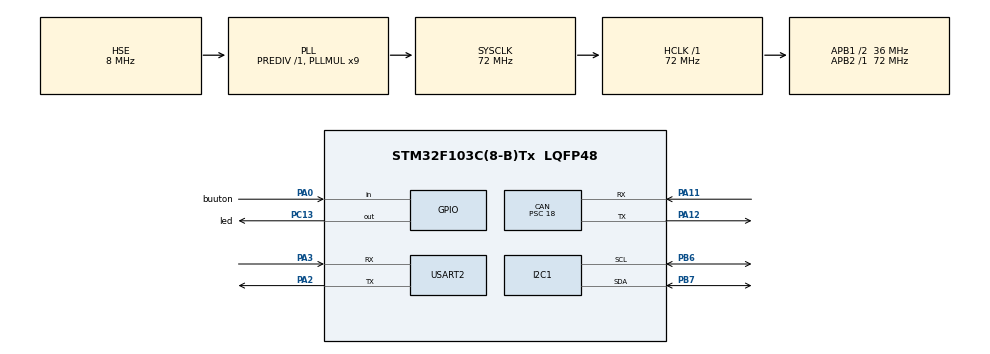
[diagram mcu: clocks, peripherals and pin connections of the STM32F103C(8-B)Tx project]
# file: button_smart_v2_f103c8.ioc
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CAN.BS2=CAN_BS2_2TQ
CAN.CalculateBaudRate=500000
CAN.CalculateTimeBit=2000
CAN.CalculateTimeQuantum=500.0
CAN.Prescaler=18
Mcu.Family=STM32F1
Mcu.Name=STM32F103C(8-B)Tx
Mcu.Package=LQFP48
NVIC.PriorityGroup=NVIC_PRIORITYGROUP_4
NVIC.TIM4_IRQn=true\:0\:0\:false\:false\:true\:true\:true\:true
NVIC.USB_HP_CAN1_TX_IRQn=true\:0\:0\:false\:false\:true\:true\:true\:true
NVIC.USB_LP_CAN1_RX0_IRQn=true\:0\:0\:false\:false\:true\:true\:true\:true
PA0-WKUP.GPIO_Label=buuton
PA0-WKUP.GPIO_PuPd=GPIO_PULLUP
PA0-WKUP.Signal=GPIO_Input
PA11.Mode=CAN_Activate
PA11.Signal=CAN_RX
PA12.Mode=CAN_Activate
PA12.Signal=CAN_TX
PA13.Mode=Serial_Wire
PA13.Signal=SYS_JTMS-SWDIO
PA14.Mode=Serial_Wire
PA14.Signal=SYS_JTCK-SWCLK
PA2.Mode=Asynchronous
PA2.Signal=USART2_TX
PA3.Mode=Asynchronous
PA3.Signal=USART2_RX
PB6.Mode=I2C
PB6.Signal=I2C1_SCL
PB7.Mode=I2C
PB7.Signal=I2C1_SDA
PC13-TAMPER-RTC.GPIO_Label=led
PC13-TAMPER-RTC.Signal=GPIO_Output
PC14-OSC32_IN.Mode=LSE-External-Oscillator
PC14-OSC32_IN.Signal=RCC_OSC32_IN
PC15-OSC32_OUT.Mode=LSE-External-Oscillator
PC15-OSC32_OUT.Signal=RCC_OSC32_OUT
PD0-OSC_IN.Mode=HSE-External-Oscillator
PD0-OSC_IN.Signal=RCC_OSC_IN
PD1-OSC_OUT.Mode=HSE-External-Oscillator
PD1-OSC_OUT.Signal=RCC_OSC_OUT
ProjectManager.HeapSize=0x200
ProjectManager.StackSize=0x400
ProjectManager.TargetToolchain=STM32CubeIDE
RCC.AHBFreq_Value=72000000
RCC.APB1CLKDivider=RCC_HCLK_DIV2
RCC.APB1Freq_Value=36000000
RCC.APB1TimFreq_Value=72000000
RCC.APB2Freq_Value=72000000
RCC.APB2TimFreq_Value=72000000
RCC.HCLKFreq_Value=72000000
RCC.PLLMUL=RCC_PLL_MUL9
RCC.PLLSourceVirtual=RCC_PLLSOURCE_HSE
RCC.SYSCLKFreq_VALUE=72000000
RCC.SYSCLKSource=RCC_SYSCLKSOURCE_PLLCLK
RCC.USBFreq_Value=72000000
TIM4.Prescaler=71
USART2.VirtualMode=VM_ASYNC
VP_TIM4_VS_ClockSourceITR.Mode=TriggerSource_ITR0
board=custom

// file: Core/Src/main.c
/* USER CODE BEGIN Header */
/**
  ******************************************************************************
  * @file           : main.c
  * @brief          : Main program body
  ******************************************************************************
  * @attention
  *
  * Copyright (c) 2024 STMicroelectronics.
  * All rights reserved.
  *
  * This software is licensed under terms that can be found in the LICENSE file
  * in the root directory of this software component.
  * If no LICENSE file comes with this software, it is provided AS-IS.
  *
  ******************************************************************************
  */
/* USER CODE END Header */
#include "main.h"

/* USER CODE BEGIN PD */
#define DEBOUNCE_DELAY 50000
/* USER CODE END PD */

CAN_HandleTypeDef hcan;

I2C_HandleTypeDef hi2c1;

TIM_HandleTypeDef htim4;

UART_HandleTypeDef huart2;

void SystemClock_Config(void);
static void MX_GPIO_Init(void);
static void MX_USART2_UART_Init(void);
static void MX_TIM4_Init(void);
static void MX_CAN_Init(void);
static void MX_I2C1_Init(void);

int main(void)
{

  /* MCU Configuration--------------------------------------------------------*/

  /* Reset of all peripherals, Initializes the Flash interface and the Systick. */
  HAL_Init();

  /* Configure the system clock */
  SystemClock_Config();

  /* Initialize all configured peripherals */
  MX_GPIO_Init();
  MX_USART2_UART_Init();
  MX_TIM4_Init();
  MX_CAN_Init();
  MX_I2C1_Init();
  /* USER CODE BEGIN 2 */
  HAL_TIM_Base_Start(&htim4);  // Запускаем таймер
  uint32_t lastDebounceTime = 0;
  uint8_t buttonState = GPIO_PIN_RESET;
  uint8_t lastButtonState = GPIO_PIN_RESET;
  uint8_t ledState = GPIO_PIN_RESET;
  HAL_GPIO_WritePin(led_GPIO_Port, led_Pin, ledState);  // Начальное состояние светодиода
  /* USER CODE END 2 */

  /* Infinite loop */
  while (1)
  {

    /* USER CODE BEGIN 3 */
    uint8_t reading = HAL_GPIO_ReadPin(buuton_GPIO_Port, buuton_Pin);

    uint32_t currentTime = __HAL_TIM_GET_COUNTER(&htim4);

    if (reading != lastButtonState) {
      lastDebounceTime = currentTime;
    }

    if ((currentTime - lastDebounceTime) >= DEBOUNCE_DELAY) {
      if (reading != buttonState) {
        buttonState = reading;

        if (buttonState == GPIO_PIN_RESET) {  // Проверяем на RESET, так как кнопка подтянута к VCC
          ledState = !ledState;
          HAL_GPIO_WritePin(led_GPIO_Port, led_Pin, ledState);
        }
      }
    }

    lastButtonState = reading;

    // Сброс счетчика таймера при переполнении
    if (currentTime < lastDebounceTime) {
      lastDebounceTime = 0;
    }
  }
  /* USER CODE END 3 */
}

void SystemClock_Config(void)
{
  RCC_OscInitTypeDef RCC_OscInitStruct = {0};
  RCC_ClkInitTypeDef RCC_ClkInitStruct = {0};

  /** Initializes the RCC Oscillators according to the specified parameters
  * in the RCC_OscInitTypeDef structure.
  */
  RCC_OscInitStruct.OscillatorType = RCC_OSCILLATORTYPE_HSE;
  RCC_OscInitStruct.HSEState = RCC_HSE_ON;
  RCC_OscInitStruct.HSEPredivValue = RCC_HSE_PREDIV_DIV1;
  RCC_OscInitStruct.HSIState = RCC_HSI_ON;
  RCC_OscInitStruct.PLL.PLLState = RCC_PLL_ON;
  RCC_OscInitStruct.PLL.PLLSource = RCC_PLLSOURCE_HSE;
  RCC_OscInitStruct.PLL.PLLMUL = RCC_PLL_MUL9;
  if (HAL_RCC_OscConfig(&RCC_OscInitStruct) != HAL_OK)
  {
    Error_Handler();
  }

  /** Initializes the CPU, AHB and APB buses clocks
  */
  RCC_ClkInitStruct.ClockType = RCC_CLOCKTYPE_HCLK|RCC_CLOCKTYPE_SYSCLK
                              |RCC_CLOCKTYPE_PCLK1|RCC_CLOCKTYPE_PCLK2;
  RCC_ClkInitStruct.SYSCLKSource = RCC_SYSCLKSOURCE_PLLCLK;
  RCC_ClkInitStruct.AHBCLKDivider = RCC_SYSCLK_DIV1;
  RCC_ClkInitStruct.APB1CLKDivider = RCC_HCLK_DIV2;
  RCC_ClkInitStruct.APB2CLKDivider = RCC_HCLK_DIV1;

  if (HAL_RCC_ClockConfig(&RCC_ClkInitStruct, FLASH_LATENCY_2) != HAL_OK)
  {
    Error_Handler();
  }
}

static void MX_CAN_Init(void)
{

  hcan.Instance = CAN1;
  hcan.Init.Prescaler = 18;
  hcan.Init.Mode = CAN_MODE_NORMAL;
  hcan.Init.SyncJumpWidth = CAN_SJW_1TQ;
  hcan.Init.TimeSeg1 = CAN_BS1_1TQ;
  hcan.Init.TimeSeg2 = CAN_BS2_2TQ;
  hcan.Init.TimeTriggeredMode = DISABLE;
  hcan.Init.AutoBusOff = DISABLE;
  hcan.Init.AutoWakeUp = DISABLE;
  hcan.Init.AutoRetransmission = DISABLE;
  hcan.Init.ReceiveFifoLocked = DISABLE;
  hcan.Init.TransmitFifoPriority = DISABLE;
  if (HAL_CAN_Init(&hcan) != HAL_OK)
  {
    Error_Handler();
  }

}

static void MX_I2C1_Init(void)
{

  hi2c1.Instance = I2C1;
  hi2c1.Init.ClockSpeed = 100000;
  hi2c1.Init.DutyCycle = I2C_DUTYCYCLE_2;
  hi2c1.Init.OwnAddress1 = 0;
  hi2c1.Init.AddressingMode = I2C_ADDRESSINGMODE_7BIT;
  hi2c1.Init.DualAddressMode = I2C_DUALADDRESS_DISABLE;
  hi2c1.Init.OwnAddress2 = 0;
  hi2c1.Init.GeneralCallMode = I2C_GENERALCALL_DISABLE;
  hi2c1.Init.NoStretchMode = I2C_NOSTRETCH_DISABLE;
  if (HAL_I2C_Init(&hi2c1) != HAL_OK)
  {
    Error_Handler();
  }

}

static void MX_TIM4_Init(void)
{

  TIM_SlaveConfigTypeDef sSlaveConfig = {0};
  TIM_MasterConfigTypeDef sMasterConfig = {0};

  htim4.Instance = TIM4;
  htim4.Init.Prescaler = 71;
  htim4.Init.CounterMode = TIM_COUNTERMODE_UP;
  htim4.Init.Period = 65535;
  htim4.Init.ClockDivision = TIM_CLOCKDIVISION_DIV1;
  htim4.Init.AutoReloadPreload = TIM_AUTORELOAD_PRELOAD_DISABLE;
  if (HAL_TIM_Base_Init(&htim4) != HAL_OK)
  {
    Error_Handler();
  }
  sSlaveConfig.SlaveMode = TIM_SLAVEMODE_DISABLE;
  sSlaveConfig.InputTrigger = TIM_TS_ITR0;
  if (HAL_TIM_SlaveConfigSynchro(&htim4, &sSlaveConfig) != HAL_OK)
  {
    Error_Handler();
  }
  sMasterConfig.MasterOutputTrigger = TIM_TRGO_RESET;
  sMasterConfig.MasterSlaveMode = TIM_MASTERSLAVEMODE_DISABLE;
  if (HAL_TIMEx_MasterConfigSynchronization(&htim4, &sMasterConfig) != HAL_OK)
  {
    Error_Handler();
  }

}

static void MX_USART2_UART_Init(void)
{

  huart2.Instance = USART2;
  huart2.Init.BaudRate = 115200;
  huart2.Init.WordLength = UART_WORDLENGTH_8B;
  huart2.Init.StopBits = UART_STOPBITS_1;
  huart2.Init.Parity = UART_PARITY_NONE;
  huart2.Init.Mode = UART_MODE_TX_RX;
  huart2.Init.HwFlowCtl = UART_HWCONTROL_NONE;
  huart2.Init.OverSampling = UART_OVERSAMPLING_16;
  if (HAL_UART_Init(&huart2) != HAL_OK)
  {
    Error_Handler();
  }

}

static void MX_GPIO_Init(void)
{
  GPIO_InitTypeDef GPIO_InitStruct = {0};

  /* GPIO Ports Clock Enable */
  __HAL_RCC_GPIOC_CLK_ENABLE();
  __HAL_RCC_GPIOD_CLK_ENABLE();
  __HAL_RCC_GPIOA_CLK_ENABLE();
  __HAL_RCC_GPIOB_CLK_ENABLE();

  /*Configure GPIO pin Output Level */
  HAL_GPIO_WritePin(led_GPIO_Port, led_Pin, GPIO_PIN_RESET);

  /*Configure GPIO pin : led_Pin */
  GPIO_InitStruct.Pin = led_Pin;
  GPIO_InitStruct.Mode = GPIO_MODE_OUTPUT_PP;
  GPIO_InitStruct.Pull = GPIO_NOPULL;
  GPIO_InitStruct.Speed = GPIO_SPEED_FREQ_LOW;
  HAL_GPIO_Init(led_GPIO_Port, &GPIO_InitStruct);

  /*Configure GPIO pin : buuton_Pin */
  GPIO_InitStruct.Pin = buuton_Pin;
  GPIO_InitStruct.Mode = GPIO_MODE_INPUT;
  GPIO_InitStruct.Pull = GPIO_PULLUP;
  HAL_GPIO_Init(buuton_GPIO_Port, &GPIO_InitStruct);

}

void Error_Handler(void)
{
  __disable_irq();
  while (1)
  {
  }
}
